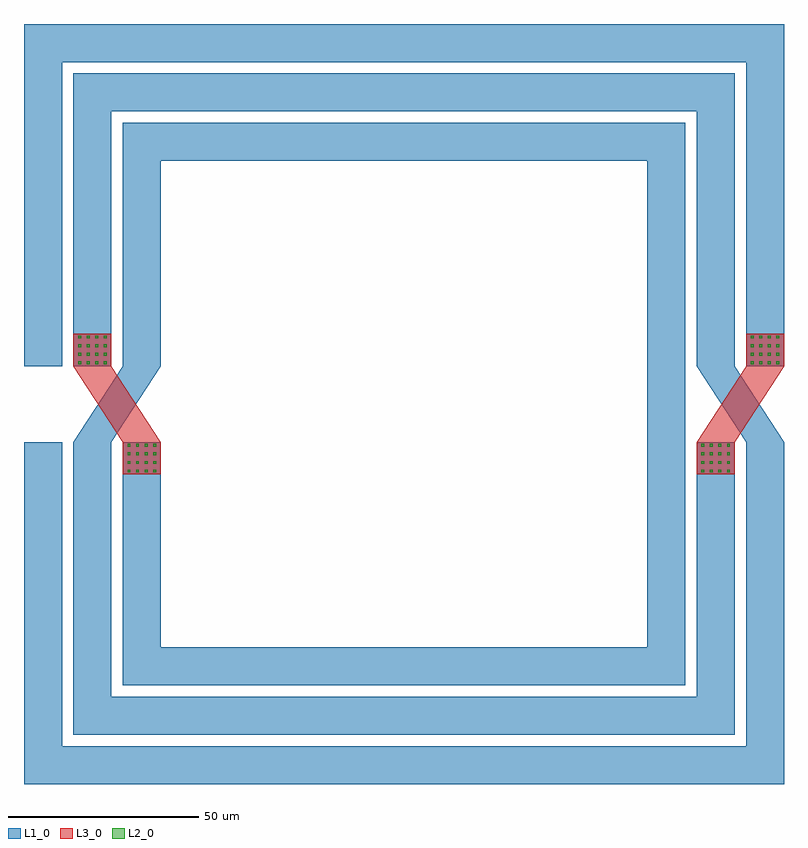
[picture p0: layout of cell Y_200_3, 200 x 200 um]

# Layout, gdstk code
import gdstk
lib = gdstk.Library(unit=1e-6, precision=1e-09)
def R(c, l, rs):  # rectangles x0, y0, x1, y1
    for r in rs: c.add(gdstk.rectangle(r[:2], r[2:], *l))
def A(c, l, x, y, w, h, nx, ny, dx, dy):  # array of equal rectangles
    R(c, l, [(x+i*dx, y+j*dy, x+i*dx+w, y+j*dy+h) for i in range(nx) for j in range(ny)])
def P(c, l, *ps):  # polygons
    for p in ps: c.add(gdstk.Polygon(p, *l))
L1_0 = (1, 0)
L2_0 = (2, 0)
L3_0 = (3, 0)

y_200_3 = lib.new_cell('Y_200_3')
R(y_200_3, L1_0, [(126,191.5,136,200), (277,191.5,287,200), (264,200,274,210), (264,210,274,220), (113,220,123,228.5), (290,220,300,228.5)])
P(y_200_3, L1_0, [(100,220),(100,310),(110,300),(110,220)],
  [(110,300),(100,310),(300,310),(290,300)],
  [(290,220),(290,300),(300,310),(300,220)],
  [(287,123),(277,133),(277,200),(287,200)],
  [(113,123),(123,133),(277,133),(287,123)],
  [(113,123),(113,200),(123,200),(123,133)],
  [(113,200),(126,220),(136,220),(123,200)],
  [(126,220),(126,284),(136,274),(136,220)],
  [(136,274),(126,284),(274,284),(264,274)],
  [(264,220),(264,274),(274,284),(274,220)],
  [(274,136),(264,146),(264,200),(274,200)],
  [(126,136),(136,146),(264,146),(274,136)],
  [(126,136),(126,200),(136,200),(136,146)],
  [(113,220),(113,297),(123,287),(123,220)],
  [(123,287),(113,297),(287,297),(277,287)],
  [(277,220),(277,287),(287,297),(287,220)],
  [(290,200),(277,220),(287,220),(300,200)],
  [(300,110),(290,120),(290,200),(300,200)],
  [(100,110),(110,120),(290,120),(300,110)],
  [(100,110),(100,200),(110,200),(110,120)])
A(y_200_3, L2_0, 127.25, 192, 0.75, 0.75, 4, 4, 2.25, 2.25)
A(y_200_3, L2_0, 278.25, 192, 0.75, 0.75, 4, 4, 2.25, 2.25)
A(y_200_3, L2_0, 114.25, 220.5, 0.75, 0.75, 4, 4, 2.25, 2.25)
A(y_200_3, L2_0, 291.25, 220.5, 0.75, 0.75, 4, 4, 2.25, 2.25)
R(y_200_3, L3_0, [(126,191.5,136,200), (277,191.5,287,200), (113,220,123,228.5), (290,220,300,228.5)])
P(y_200_3, L3_0, [(277,200),(290,220),(300,220),(287,200)],
  [(126,200),(113,220),(123,220),(136,200)])

lib.write_gds('Y_200_3.gds')
